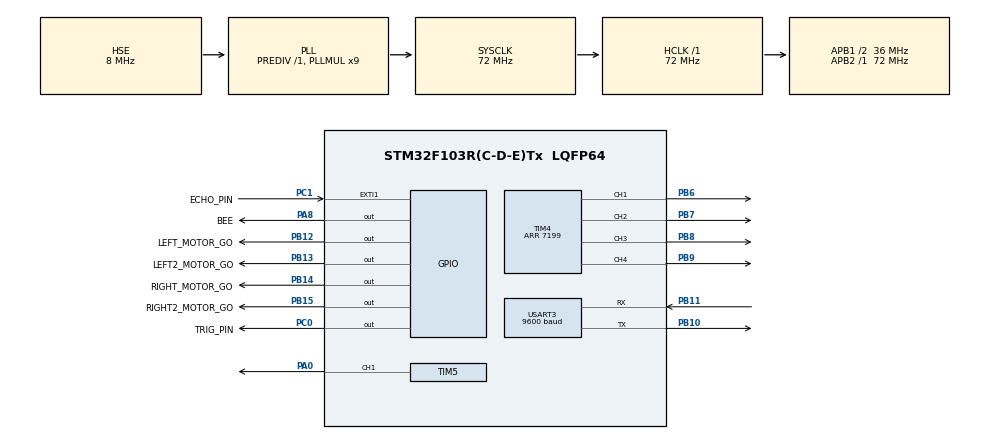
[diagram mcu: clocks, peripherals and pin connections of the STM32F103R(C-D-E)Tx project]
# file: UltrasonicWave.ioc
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Mcu.Family=STM32F1
Mcu.Name=STM32F103R(C-D-E)Tx
Mcu.Package=LQFP64
NVIC.EXTI1_IRQn=true\:1\:0\:true\:false\:true\:true\:true\:true
NVIC.PriorityGroup=NVIC_PRIORITYGROUP_2
NVIC.TIM4_IRQn=true\:1\:0\:true\:false\:true\:true\:true\:true
PA0-WKUP.GPIO_Speed=GPIO_SPEED_FREQ_HIGH
PA0-WKUP.Signal=S_TIM5_CH1
PA13.Mode=Serial_Wire
PA13.Signal=SYS_JTMS-SWDIO
PA14.Mode=Serial_Wire
PA14.Signal=SYS_JTCK-SWCLK
PA8.GPIO_Label=BEE
PA8.GPIO_ModeDefaultOutputPP=GPIO_MODE_OUTPUT_PP
PA8.GPIO_PuPd=GPIO_PULLUP
PA8.GPIO_Speed=GPIO_SPEED_FREQ_HIGH
PA8.PinState=GPIO_PIN_SET
PA8.Signal=GPIO_Output
PB10.Mode=Asynchronous
PB10.Signal=USART3_TX
PB11.Mode=Asynchronous
PB11.Signal=USART3_RX
PB12.GPIO_Label=LEFT_MOTOR_GO
PB12.Signal=GPIO_Output
PB13.GPIO_Label=LEFT2_MOTOR_GO
PB13.Signal=GPIO_Output
PB14.GPIO_Label=RIGHT_MOTOR_GO
PB14.Signal=GPIO_Output
PB15.GPIO_Label=RIGHT2_MOTOR_GO
PB15.Signal=GPIO_Output
PB6.Signal=S_TIM4_CH1
PB7.Signal=S_TIM4_CH2
PB8.Signal=S_TIM4_CH3
PB9.Signal=S_TIM4_CH4
PC0.GPIO_Label=TRIG_PIN
PC0.GPIO_ModeDefaultOutputPP=GPIO_MODE_OUTPUT_PP
PC0.GPIO_PuPd=GPIO_PULLDOWN
PC0.GPIO_Speed=GPIO_SPEED_FREQ_HIGH
PC0.PinState=GPIO_PIN_RESET
PC0.Signal=GPIO_Output
PC1.GPIO_Label=ECHO_PIN
PC1.GPIO_ModeDefaultEXTI=GPIO_MODE_IT_RISING
PC1.GPIO_PuPd=GPIO_NOPULL
PC1.Signal=GPXTI1
PD0-OSC_IN.Mode=HSE-External-Oscillator
PD0-OSC_IN.Signal=RCC_OSC_IN
PD1-OSC_OUT.Mode=HSE-External-Oscillator
PD1-OSC_OUT.Signal=RCC_OSC_OUT
ProjectManager.HeapSize=0x200
ProjectManager.StackSize=0x400
ProjectManager.TargetToolchain=STM32CubeIDE
RCC.AHBFreq_Value=72000000
RCC.APB1CLKDivider=RCC_HCLK_DIV2
RCC.APB1Freq_Value=36000000
RCC.APB1TimFreq_Value=72000000
RCC.APB2Freq_Value=72000000
RCC.APB2TimFreq_Value=72000000
RCC.HCLKFreq_Value=72000000
RCC.PLLMUL=RCC_PLL_MUL9
RCC.PLLSourceVirtual=RCC_PLLSOURCE_HSE
RCC.SYSCLKFreq_VALUE=72000000
RCC.SYSCLKSource=RCC_SYSCLKSOURCE_PLLCLK
RCC.USBFreq_Value=72000000
SH.S_TIM4_CH1.0=TIM4_CH1,PWM Generation1 CH1
SH.S_TIM4_CH2.0=TIM4_CH2,PWM Generation2 CH2
SH.S_TIM4_CH3.0=TIM4_CH3,PWM Generation3 CH3
SH.S_TIM4_CH4.0=TIM4_CH4,PWM Generation4 CH4
SH.S_TIM5_CH1.0=TIM5_CH1,PWM Generation1 CH1
TIM2.AutoReloadPreload=TIM_AUTORELOAD_PRELOAD_ENABLE
TIM2.Period=65535
TIM2.Prescaler=71
TIM4.AutoReloadPreload=TIM_AUTORELOAD_PRELOAD_ENABLE
TIM4.Channel-PWM\ Generation1\ CH1=TIM_CHANNEL_1
TIM4.Channel-PWM\ Generation2\ CH2=TIM_CHANNEL_2
TIM4.Channel-PWM\ Generation3\ CH3=TIM_CHANNEL_3
TIM4.Channel-PWM\ Generation4\ CH4=TIM_CHANNEL_4
TIM4.OCMode_PWM-PWM\ Generation1\ CH1=TIM_OCMODE_PWM2
TIM4.OCMode_PWM-PWM\ Generation2\ CH2=TIM_OCMODE_PWM2
TIM4.Period=7199
TIM5.AutoReloadPreload=TIM_AUTORELOAD_PRELOAD_ENABLE
TIM5.Channel-PWM\ Generation1\ CH1=TIM_CHANNEL_1
TIM5.OCFastMode_PWM-PWM\ Generation1\ CH1=TIM_OCFAST_DISABLE
TIM5.Period=9999
TIM5.Prescaler=143
USART3.BaudRate=9600
USART3.VirtualMode=VM_ASYNC
VP_TIM1_VS_ClockSourceITR.Mode=TriggerSource_ITR0
VP_TIM2_VS_ClockSourceINT.Mode=Internal
VP_TIM4_VS_ClockSourceINT.Mode=Internal
VP_TIM5_VS_ClockSourceINT.Mode=Internal
board=custom

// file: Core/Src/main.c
/* USER CODE BEGIN Header */
/**
  ******************************************************************************
  * @file           : main.c
  * @brief          : Main program body
  ******************************************************************************
  * @attention
  *
  * Copyright (c) 2024 STMicroelectronics.
  * All rights reserved.
  *
  * This software is licensed under terms that can be found in the LICENSE file
  * in the root directory of this software component.
  * If no LICENSE file comes with this software, it is provided AS-IS.
  *
  ******************************************************************************
  */
/* USER CODE END Header */
#include "main.h"
#include "tim.h"
#include "usart.h"
#include "gpio.h"

/* USER CODE BEGIN Includes */
#include "Server.h"
#include "UltrasonicWave.h"
#include "motor.h"
/* USER CODE END Includes */

/* USER CODE BEGIN PV */
extern TIM_HandleTypeDef htim5;
extern TIM_HandleTypeDef htim4;
int angle = 175;
float distance;

uint8_t rxBuffer[38];

/* USER CODE END PV */

void SystemClock_Config(void);

/* USER CODE BEGIN 0 */
#include <stdio.h>
#include <stdbool.h>
#define SIZE 4

int detectgrid[SIZE][SIZE] = {0}; //最终返回检测到的障碍物. 0: 未检测 1：障碍物 2：空格 3:不可达
int grid[SIZE][SIZE] = {0};  // 0:未检测 1:已探测到的障碍物 2：标记一条可能的路径（下次迭代时删除）
int realgrid[SIZE][SIZE] = {
    {0,0,1,0},
    {1,1,1,0},
    {0,0,1,0},
    {0,0,0,0}
}; // 模拟真实的障碍物位置
char directionGrid[SIZE][SIZE] = {'O'}; // 计算后的一次路径
char currentDir = '^';
bool visited[SIZE][SIZE] = {false}; //一次dfs
int startX, startY, endX, endY;
int currentX, currentY;
int obstacle_detect_start, obstacle_detect_end;

int directions[4][2] = {
    {1, 0},  // 下
    {-1, 0}, // 上
    {0, 1},  // 右
    {0, -1}   // 左
};

char directionChars[4] = {'v', '^', '>', '<'};

bool canMove(int x, int y) {

    return (x >= 0 && x < SIZE && y >= 0 && y < SIZE && grid[x][y] == 0 && !visited[x][y]);
}
bool dfs(int x, int y) {  // 根据一对起点和终点计算一条路径
    if (x == endX && y == endY) {
        return true;
    }

    visited[x][y] = true;

    for (int i = 0; i < 4; i++) {
        int newX = x + directions[i][0];
        int newY = y + directions[i][1];

        if (canMove(newX, newY)) {
            grid[newX][newY] = 2;

            directionGrid[x][y] = directionChars[i];

            if (dfs(newX, newY)) {
                return true;
            }

            grid[newX][newY] = 0;
            directionGrid[newX][newY] = 'O';
        }
    }

    visited[x][y] = false;
    return false;
}

void initializeGrid() {
    for(int i=0;i<SIZE;i++){
        for(int j=0;j<SIZE;j++){
            directionGrid[i][j] = 'O';
            visited[i][j] = false;
            if(detectgrid[i][j]==1) {
                grid[i][j] = 1;
            } else grid[i][j] = 0;
        }
    }
}

bool detectionComplete(){
    for(int i=0;i<SIZE;i++){
        for(int j=0;j<SIZE;j++){
            if(detectgrid[i][j]==0) return false;
        }
    }
    return true;
}

void adaptHead(char dir){
    if (dir=='^'){
        switch(currentDir){
            case '<': moveTurnRight90(&htim4);//turnRight90
            break;
            case '>': moveTurnLeft90(&htim4);//turnLeft90
            break;
            case 'v': moveTurnLeft180(&htim4);//turnRight180
            break;
        }
    } else if (dir=='v')
    {
        switch(currentDir){
            case '<': moveTurnLeft90(&htim4);//turnLeft90
            break;
            case '>': moveTurnRight90(&htim4);//turnRight90
            break;
            case '^': moveTurnLeft180(&htim4);//turnRight180
            break;
        }
    } else if (dir=='<')
    {
        switch(currentDir){
            case 'v': moveTurnRight90(&htim4);//turnRight90
            break;
            case '>': moveTurnLeft180(&htim4);//turnRight180
            break;
            case '^': moveTurnLeft90(&htim4);//turnLeft90
            break;
        }
    } else if (dir=='>')
    {
        switch(currentDir){
            case '<': moveTurnLeft180(&htim4);//turnRight180
            break;
            case 'v': moveTurnLeft90(&htim4);//turnLeft90
            break;
            case '^': moveTurnRight90(&htim4);//turnRight90
            break;
        }
    }
    currentDir = dir;
}

int detect(int nextX, int nextY){
    //原本是超声波测距，先用数组代替测距结果
    if (realgrid[nextX][nextY]==1){
        return 50;
    } else return 100;
}
int detection(){
	float a_temp[150];

	SetJointAngle(85);
	HAL_Delay(100);
	for(int i = 0; i < 50; i++){
		UltrasonicWave_StartMeasure();
		a_temp[i] = ultrasonicWaveDist;
	}

	SetJointAngle(100);
	HAL_Delay(100);
	for(int i = 0; i < 50; i++){
		UltrasonicWave_StartMeasure();
		a_temp[i+50] = ultrasonicWaveDist;
	}

	SetJointAngle(70);
	HAL_Delay(100);
	for(int i = 0; i < 50; i++){
		UltrasonicWave_StartMeasure();
		a_temp[i+100] = ultrasonicWaveDist;
	}

	SetJointAngle(85);

	int cnt = 0;
	for(int i = 0; i < 150; i++){
		if(a_temp[i] > 50 && a_temp[i] < 80) cnt++;
	}

	if(cnt > 30) return 1;

	return 0;
}

void mark_path(){
    while(SIZE*currentX+currentY!=SIZE*endX+endY){
        adaptHead(directionGrid[currentX][currentY]);
        HAL_Delay(2000);
        int nextX, nextY;
        switch(currentDir){
            case '<':
                nextX = currentX;
                nextY = currentY-1;
            break;
            case '>':
                nextX = currentX;
                nextY = currentY+1;
            break;
            case '^':
                nextX = currentX-1;
                nextY = currentY;
            break;
            case 'v':
                nextX = currentX+1;
                nextY = currentY;
            break;
        }
        int dis = detection();
        if (dis==1){
        	HAL_GPIO_WritePin(BEE_GPIO_Port, BEE_Pin, RESET);
        	HAL_Delay(1000);
        	HAL_GPIO_WritePin(BEE_GPIO_Port, BEE_Pin, SET);
            detectgrid[nextX][nextY] = 1;
            SendEnvDetectData(SIZE*nextX+nextY, 1);
            break;
        }
        detectgrid[nextX][nextY] = 2;
        SendEnvDetectData(SIZE*nextX+nextY, 2);
        //TODO: moveForward() 向前移动80cm
        moveForwardOneGrid(&htim4);
        HAL_Delay(2000);
        currentX = nextX;
        currentY = nextY;
    }
    return;
}

void obstacle_detect(uint8_t start, uint8_t end) {
	//TODO: 在这里收到起点和终点坐标
	obstacle_detect_start = start;
	obstacle_detect_end = end;
    currentX = obstacle_detect_start / 4;
    currentY = obstacle_detect_start % 4;
    endX = obstacle_detect_end / 4;
    endY = obstacle_detect_end % 4;
//    printf("start: %d, %d\n", currentX, currentY);
//    printf("end: %d, %d\n", endX, endY);
    detectgrid[currentX][currentY] = 2;
    detectgrid[endX][endY] = 2;

    while(!detectionComplete()){

        initializeGrid();
        bool found = false;
        for(int i=0;i<SIZE;i++){
            if(found) break;
            for(int j=0;j<SIZE;j++){
                if(detectgrid[i][j]==0) {
                    endX = i;
                    endY = j;
                    found = true;
                    break;
                }
            }
        }
        startX = currentX;
        startY = currentY;
        if (dfs(startX, startY)) {
            mark_path();
        } else {
            detectgrid[endX][endY] = 3;
        }
    }
    //找到所有障碍物，移动到终点
    startX = currentX;
    startY = currentY;
    endX = obstacle_detect_end / 4;
    endY = obstacle_detect_end % 4;
    initializeGrid();
    dfs(startX, startY);
    mark_path();
    moveTurnRightslow(&htim4);
    HAL_Delay(7000);
    motorBreak();
}
/* USER CODE END 0 */

int main(void)
{

  /* MCU Configuration--------------------------------------------------------*/

  /* Reset of all peripherals, Initializes the Flash interface and the Systick. */
  HAL_Init();

  /* Configure the system clock */
  SystemClock_Config();

  /* Initialize all configured peripherals */
  MX_GPIO_Init();
  MX_TIM5_Init();
  MX_TIM2_Init();
  MX_TIM1_Init();
  MX_TIM4_Init();
  MX_USART3_UART_Init();
  /* USER CODE BEGIN 2 */
  HAL_UART_Receive_IT(&huart3, rxBuffer, 1);
  HAL_TIM_PWM_Start(&htim5, TIM_CHANNEL_1);
  motorInit();
  motorBreak();
	HAL_GPIO_WritePin(BEE_GPIO_Port, BEE_Pin, RESET);
	HAL_Delay(5000);
	HAL_GPIO_WritePin(BEE_GPIO_Port, BEE_Pin, SET);

//  int Q_temp,L_temp,R_temp;
  /* USER CODE END 2 */

  /* Infinite loop */
  while (1)
  {

    /* USER CODE BEGIN 3 */

//	  SetJointAngle(85);
//	  HAL_Delay(1000);
//	  SetJointAngle(5);
//	  HAL_Delay(1000);
/*舵机测试
	  SetJointAngle(angle); //85为正前方（角度取�???????????????3(正右)-180（正左）�???????????????

	  HAL_Delay(100);
*/

//	  moveForward(&htim4);
//	  HAL_Delay(1000);
//	  motorBreak();
//	  UltrasonicWave_StartMeasure();
//	  distance = ultrasonicWaveDist;
//	  if(distance > 50 && distance < 80){
//		  HAL_GPIO_WritePin(BEE_GPIO_Port, BEE_Pin, GPIO_PIN_RESET);
//		  HAL_Delay(50);
//		  HAL_GPIO_WritePin(BEE_GPIO_Port, BEE_Pin, GPIO_PIN_SET);
//	  }
//	  HAL_Delay(3000);
//	  moveForwardOneGrid(&htim4);
//	  HAL_Delay(3000);
//	  moveTurnLeft180(&htim4);

//	  HAL_Delay(3000);
//	  moveForwardOneGrid(&htim4);
//	  HAL_Delay(3000);
//	  moveTurnRight90(&htim4);
//	  HAL_Delay(3000);
//	  moveForwardOneGrid(&htim4);
  }
  /* USER CODE END 3 */
}

void SystemClock_Config(void)
{
  RCC_OscInitTypeDef RCC_OscInitStruct = {0};
  RCC_ClkInitTypeDef RCC_ClkInitStruct = {0};

  /** Initializes the RCC Oscillators according to the specified parameters
  * in the RCC_OscInitTypeDef structure.
  */
  RCC_OscInitStruct.OscillatorType = RCC_OSCILLATORTYPE_HSE;
  RCC_OscInitStruct.HSEState = RCC_HSE_ON;
  RCC_OscInitStruct.HSEPredivValue = RCC_HSE_PREDIV_DIV1;
  RCC_OscInitStruct.HSIState = RCC_HSI_ON;
  RCC_OscInitStruct.PLL.PLLState = RCC_PLL_ON;
  RCC_OscInitStruct.PLL.PLLSource = RCC_PLLSOURCE_HSE;
  RCC_OscInitStruct.PLL.PLLMUL = RCC_PLL_MUL9;
  if (HAL_RCC_OscConfig(&RCC_OscInitStruct) != HAL_OK)
  {
    Error_Handler();
  }

  /** Initializes the CPU, AHB and APB buses clocks
  */
  RCC_ClkInitStruct.ClockType = RCC_CLOCKTYPE_HCLK|RCC_CLOCKTYPE_SYSCLK
                              |RCC_CLOCKTYPE_PCLK1|RCC_CLOCKTYPE_PCLK2;
  RCC_ClkInitStruct.SYSCLKSource = RCC_SYSCLKSOURCE_PLLCLK;
  RCC_ClkInitStruct.AHBCLKDivider = RCC_SYSCLK_DIV1;
  RCC_ClkInitStruct.APB1CLKDivider = RCC_HCLK_DIV2;
  RCC_ClkInitStruct.APB2CLKDivider = RCC_HCLK_DIV1;

  if (HAL_RCC_ClockConfig(&RCC_ClkInitStruct, FLASH_LATENCY_2) != HAL_OK)
  {
    Error_Handler();
  }
}

void Error_Handler(void)
{
  __disable_irq();
  while (1)
  {
  }
}
